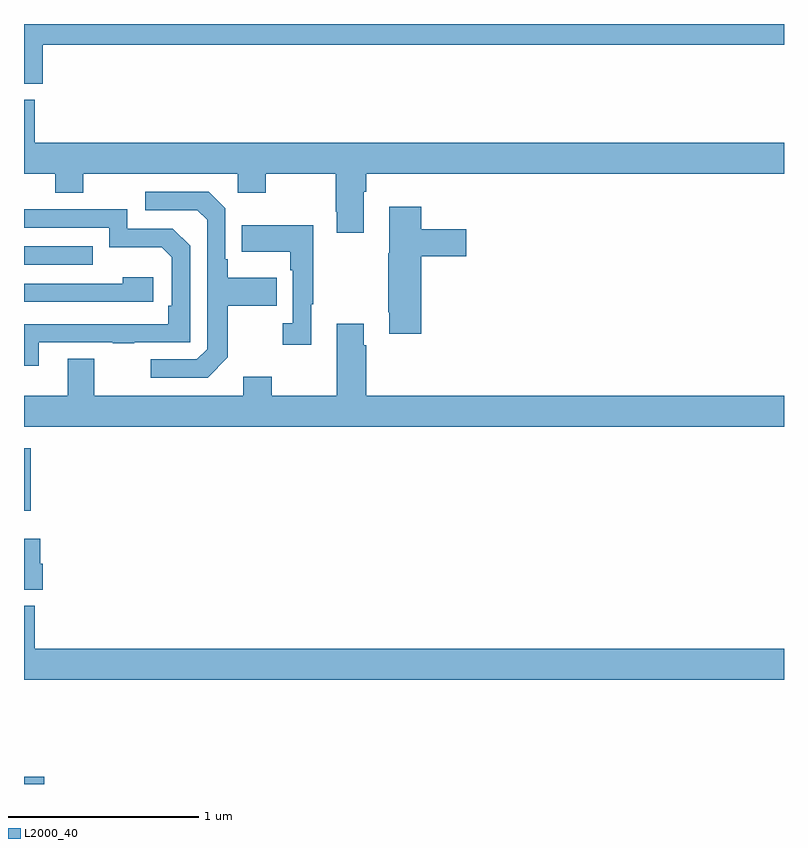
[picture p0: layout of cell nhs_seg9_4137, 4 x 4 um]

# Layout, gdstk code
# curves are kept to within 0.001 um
import gdstk
lib = gdstk.Library(unit=1e-6, precision=1e-09)
def R(c, l, rs):  # rectangles x0, y0, x1, y1
    for r in rs: c.add(gdstk.rectangle(r[:2], r[2:], *l))
def P(c, l, *ps):  # polygons
    for p in ps: c.add(gdstk.Polygon(p, *l))
L2000_40 = (2000, 40)

nhs_seg9_4137 = lib.new_cell('nhs_seg9_4137')
R(nhs_seg9_4137, L2000_40, [(347,1234.5,347.107,1234.538), (347,1235.939,347.035,1236.268), (347,1237.233,347.363,1237.329)])
P(nhs_seg9_4137, L2000_40, [(347.099,1238.392),(351,1238.392),(351,1238.5),(347,1238.5),(347,1238.186),(347.099,1238.186)],
  [(348.787,1237.616),(348.8,1237.616),(348.8,1237.712),(351,1237.712),(351,1237.876),(347.057,1237.876),(347.057,1238.101),(347,1238.101),(347,1237.712),(347.165,1237.712),(347.165,1237.613),(347.313,1237.613),(347.313,1237.712),(348.126,1237.712),(348.126,1237.613),(348.273,1237.613),(348.273,1237.712),(348.64,1237.712),(348.64,1237.513),(348.647,1237.513),(348.647,1237.401),(348.787,1237.401)],
  [(348.073,1236.745),(348.073,1237.018),(348.329,1237.018),(348.329,1237.165),(348.073,1237.165),(348.073,1237.261),(348.06,1237.261),(348.06,1237.53),(347.973,1237.617),(347.637,1237.617),(347.637,1237.521),(347.913,1237.521),(347.964,1237.47),(347.964,1236.789),(347.91,1236.735),(347.667,1236.735),(347.667,1236.639),(347.967,1236.639)],
  [(349.091,1237.277),(349.327,1237.277),(349.327,1237.419),(349.091,1237.419),(349.091,1237.537),(348.923,1237.537),(348.923,1237.293),(348.916,1237.293),(348.916,1236.982),(348.923,1236.982),(348.923,1236.87),(349.091,1236.87)],
  [(347.077,1236.825),(347.467,1236.825),(347.467,1236.82),(347.579,1236.82),(347.579,1236.825),(347.874,1236.825),(347.874,1237.332),(347.784,1237.422),(347.544,1237.422),(347.544,1237.524),(347,1237.524),(347,1237.428),(347.448,1237.428),(347.448,1237.325),(347.725,1237.325),(347.778,1237.272),(347.778,1237.018),(347.758,1237.018),(347.758,1236.921),(347,1236.92),(347,1236.702),(347.077,1236.702)],
  [(348.511,1237.025),(348.523,1237.025),(348.523,1237.441),(348.145,1237.441),(348.145,1237.301),(348.402,1237.301),(348.402,1237.205),(348.414,1237.205),(348.414,1236.926),(348.363,1236.926),(348.363,1236.813),(348.511,1236.813)],
  [(347.68,1237.168),(347.519,1237.168),(347.519,1237.134),(347,1237.134),(347,1237.038),(347.68,1237.038)],
  [(351,1236.544),(348.8,1236.544),(348.8,1236.809),(348.787,1236.809),(348.787,1236.922),(348.647,1236.922),(348.647,1236.544),(348.303,1236.544),(348.303,1236.643),(348.155,1236.643),(348.155,1236.544),(347.371,1236.544),(347.371,1236.739),(347.231,1236.739),(347.231,1236.544),(347,1236.544),(347,1236.38),(351,1236.38)],
  [(347.099,1235.658),(347.086,1235.658),(347.086,1235.791),(347,1235.791),(347,1235.522),(347.099,1235.522)],
  [(351,1235.212),(347.057,1235.212),(347.057,1235.437),(347,1235.437),(347,1235.048),(351,1235.048)])

lib.write_gds('nhs_seg9_4137.gds')
